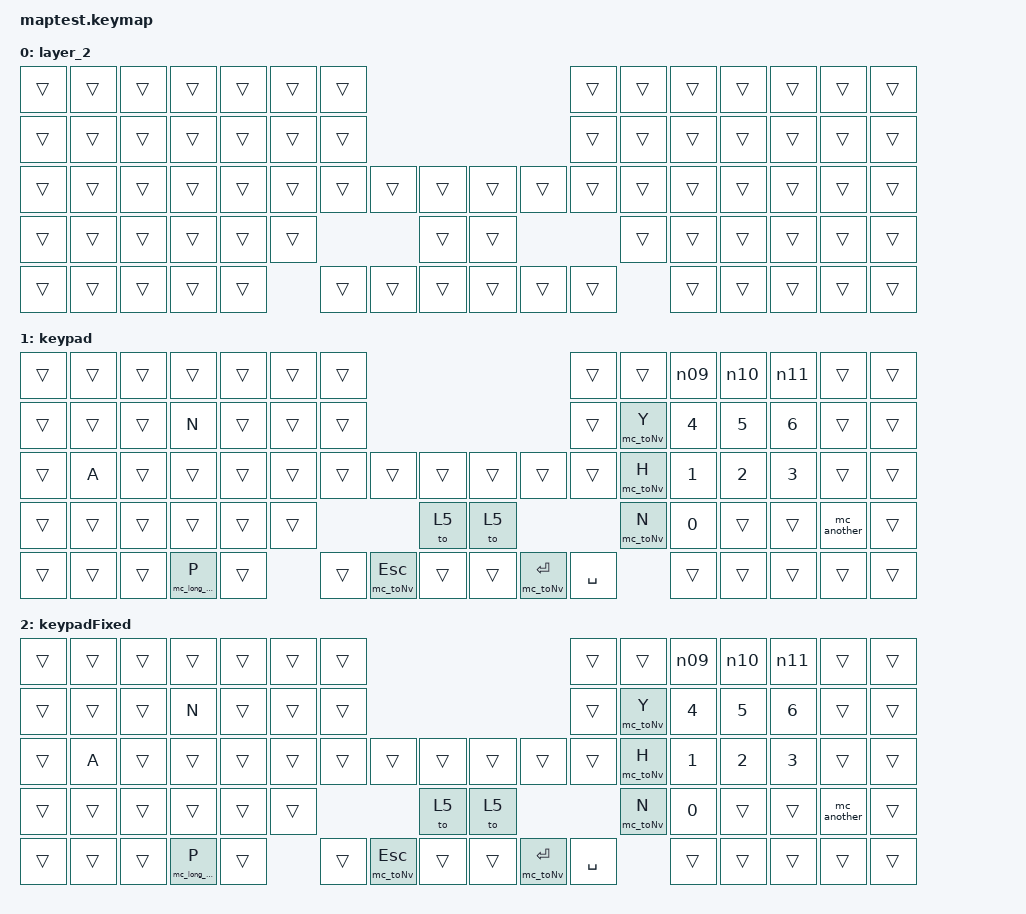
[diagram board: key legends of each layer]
/*
 * Copyright (c) 2020 The ZMK Contributors
 *
 * SPDX-License-Identifier: MIT
 */
/* THIS FILE WAS GENERATED!
 *
 * This file was generated automatically. You may or may not want to
 * edit it directly.
 */

#include <behaviors.dtsi>
#include <dt-bindings/zmk/backlight.h>
#include <dt-bindings/zmk/bt.h>
#include <dt-bindings/zmk/keys.h>
#include <dt-bindings/zmk/outputs.h>
#include <dt-bindings/zmk/rgb.h>

    keymap {
        compatible = "zmk,keymap";


        layer_2 {
            bindings = <
&trans  &trans  &trans  &trans  &trans  &trans  &trans                                      &trans  &trans  &trans  &trans  &trans  &trans  &trans
&trans  &trans  &trans  &trans  &trans  &trans  &trans                                      &trans  &trans  &trans  &trans  &trans  &trans  &trans
&trans  &trans  &trans  &trans  &trans  &trans  &trans  &trans  &trans      &trans  &trans  &trans  &trans  &trans  &trans  &trans  &trans  &trans
&trans  &trans  &trans  &trans  &trans  &trans                  &trans      &trans                  &trans  &trans  &trans  &trans  &trans  &trans
&trans  &trans  &trans  &trans  &trans          &trans  &trans  &trans      &trans  &trans  &trans          &trans  &trans  &trans  &trans  &trans
            >;
        };

 
        keypad {
            bindings = <
&trans  &trans  &trans  &trans  &trans  &trans  &trans                                                    &trans     &trans     &n09    &n10    &n11    &trans  &trans
&trans  &trans  &trans  &kp N  &trans  &trans  &trans                                                    &trans     &mc_toNv Y &kp N4  &kp N5  &kp N6  &trans  &trans
&trans  &kp A  &trans  &trans  &trans  &trans  &trans  &trans        &trans      &trans  &trans          &trans     &mc_toNv H &kp N1  &kp N2  &kp N3  &trans  &trans
&trans  &trans  &trans  &trans  &trans  &trans                        &to 5       &to 5                              &mc_toNv N &kp N0  &trans  &trans  &mc_another  &trans
&trans  &trans  &trans  &mc_long_test P  &trans          &trans  &mc_toNv ESC  &trans      &trans  &mc_toNv ENTER  &kp SPACE          &trans  &trans  &trans  &trans  &trans
            >;
        };

        keypadFixed {
            bindings = <
&trans  &trans  &trans  &trans           &trans  &trans  &trans                                                    &trans     &trans     &n09    &n10    &n11    &trans       &trans
&trans  &trans  &trans  &kp N            &trans  &trans  &trans                                                    &trans     &mc_toNv Y &kp N4  &kp N5  &kp N6  &trans       &trans
&trans  &kp A   &trans  &trans           &trans  &trans  &trans  &trans        &trans      &trans  &trans          &trans     &mc_toNv H &kp N1  &kp N2  &kp N3  &trans       &trans
&trans  &trans  &trans  &trans           &trans  &trans                        &to 5       &to 5                              &mc_toNv N &kp N0  &trans  &trans  &mc_another  &trans
&trans  &trans  &trans  &mc_long_test P  &trans          &trans  &mc_toNv ESC  &trans      &trans  &mc_toNv ENTER  &kp SPACE             &trans  &trans  &trans  &trans       &trans
            >;
        };

 

 
